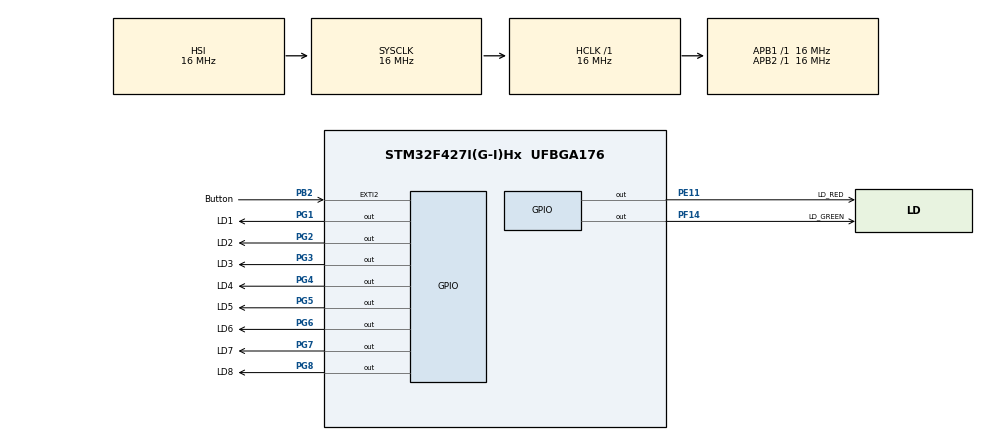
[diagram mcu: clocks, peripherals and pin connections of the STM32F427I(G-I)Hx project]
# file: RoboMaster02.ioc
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Mcu.Family=STM32F4
Mcu.Name=STM32F427I(G-I)Hx
Mcu.Package=UFBGA176
NVIC.EXTI2_IRQn=true\:1\:0\:true\:false\:true\:true\:true
NVIC.PriorityGroup=NVIC_PRIORITYGROUP_4
PB2/BOOT1.GPIO_Label=Button
PB2/BOOT1.Signal=GPXTI2
PE11.GPIO_Label=LD_RED
PE11.Signal=GPIO_Output
PF14.GPIO_Label=LD_GREEN
PF14.Signal=GPIO_Output
PG1.GPIO_Label=LD1
PG1.Signal=GPIO_Output
PG2.GPIO_Label=LD2
PG2.Signal=GPIO_Output
PG3.GPIO_Label=LD3
PG3.Signal=GPIO_Output
PG4.GPIO_Label=LD4
PG4.Signal=GPIO_Output
PG5.GPIO_Label=LD5
PG5.Signal=GPIO_Output
PG6.GPIO_Label=LD6
PG6.Signal=GPIO_Output
PG7.GPIO_Label=LD7
PG7.Signal=GPIO_Output
PG8.GPIO_Label=LD8
PG8.Signal=GPIO_Output
ProjectManager.HeapSize=0x200
ProjectManager.StackSize=0x400
ProjectManager.TargetToolchain=SW4STM32
RCC.AHBFreq_Value=16000000
RCC.APB1Freq_Value=16000000
RCC.APB2Freq_Value=16000000
RCC.CortexFreq_Value=16000000
RCC.HSE_VALUE=25000000
RCC.HSI_VALUE=16000000
RCC.LSE_VALUE=32768
RCC.SYSCLKFreq_VALUE=16000000
RCC.VCOOutputFreq_Value=192000000
board=custom

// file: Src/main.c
/* USER CODE BEGIN Header */
/**
  ******************************************************************************
  * @file           : main.c
  * @brief          : Main program body
  ******************************************************************************
  * @attention
  *
  * <h2><center>&copy; Copyright (c) 2020 STMicroelectronics.
  * All rights reserved.</center></h2>
  *
  * This software component is licensed by ST under BSD 3-Clause license,
  * the "License"; You may not use this file except in compliance with the
  * License. You may obtain a copy of the License at:
  *                        opensource.org/licenses/BSD-3-Clause
  *
  ******************************************************************************
  */
/* USER CODE END Header */

#include "main.h"

void SystemClock_Config(void);
static void MX_GPIO_Init(void);

int main(void)
{

  /* MCU Configuration--------------------------------------------------------*/

  /* Reset of all peripherals, Initializes the Flash interface and the Systick. */
  HAL_Init();

  /* Configure the system clock */
  SystemClock_Config();

  /* Initialize all configured peripherals */
  MX_GPIO_Init();

  /* Infinite loop */
  while (1)
  {

  }
}

void SystemClock_Config(void)
{
  RCC_OscInitTypeDef RCC_OscInitStruct = {0};
  RCC_ClkInitTypeDef RCC_ClkInitStruct = {0};

  /** Configure the main internal regulator output voltage
  */
  __HAL_RCC_PWR_CLK_ENABLE();
  __HAL_PWR_VOLTAGESCALING_CONFIG(PWR_REGULATOR_VOLTAGE_SCALE3);
  /** Initializes the CPU, AHB and APB busses clocks
  */
  RCC_OscInitStruct.OscillatorType = RCC_OSCILLATORTYPE_HSI;
  RCC_OscInitStruct.HSIState = RCC_HSI_ON;
  RCC_OscInitStruct.HSICalibrationValue = RCC_HSICALIBRATION_DEFAULT;
  RCC_OscInitStruct.PLL.PLLState = RCC_PLL_NONE;
  if (HAL_RCC_OscConfig(&RCC_OscInitStruct) != HAL_OK)
  {
    Error_Handler();
  }
  /** Initializes the CPU, AHB and APB busses clocks
  */
  RCC_ClkInitStruct.ClockType = RCC_CLOCKTYPE_HCLK|RCC_CLOCKTYPE_SYSCLK
                              |RCC_CLOCKTYPE_PCLK1|RCC_CLOCKTYPE_PCLK2;
  RCC_ClkInitStruct.SYSCLKSource = RCC_SYSCLKSOURCE_HSI;
  RCC_ClkInitStruct.AHBCLKDivider = RCC_SYSCLK_DIV1;
  RCC_ClkInitStruct.APB1CLKDivider = RCC_HCLK_DIV1;
  RCC_ClkInitStruct.APB2CLKDivider = RCC_HCLK_DIV1;

  if (HAL_RCC_ClockConfig(&RCC_ClkInitStruct, FLASH_LATENCY_0) != HAL_OK)
  {
    Error_Handler();
  }
}

static void MX_GPIO_Init(void)
{
  GPIO_InitTypeDef GPIO_InitStruct = {0};

  /* GPIO Ports Clock Enable */
  __HAL_RCC_GPIOG_CLK_ENABLE();
  __HAL_RCC_GPIOB_CLK_ENABLE();
  __HAL_RCC_GPIOE_CLK_ENABLE();
  __HAL_RCC_GPIOF_CLK_ENABLE();

  /*Configure GPIO pin Output Level */
  HAL_GPIO_WritePin(GPIOG, LD8_Pin|LD7_Pin|LD6_Pin|LD5_Pin
                          |LD4_Pin|LD3_Pin|LD2_Pin|LD1_Pin, GPIO_PIN_RESET);

  /*Configure GPIO pin Output Level */
  HAL_GPIO_WritePin(LD_RED_GPIO_Port, LD_RED_Pin, GPIO_PIN_RESET);

  /*Configure GPIO pin Output Level */
  HAL_GPIO_WritePin(LD_GREEN_GPIO_Port, LD_GREEN_Pin, GPIO_PIN_RESET);

  /*Configure GPIO pins : LD8_Pin LD7_Pin LD6_Pin LD5_Pin
                           LD4_Pin LD3_Pin LD2_Pin LD1_Pin */
  GPIO_InitStruct.Pin = LD8_Pin|LD7_Pin|LD6_Pin|LD5_Pin
                          |LD4_Pin|LD3_Pin|LD2_Pin|LD1_Pin;
  GPIO_InitStruct.Mode = GPIO_MODE_OUTPUT_PP;
  GPIO_InitStruct.Pull = GPIO_NOPULL;
  GPIO_InitStruct.Speed = GPIO_SPEED_FREQ_LOW;
  HAL_GPIO_Init(GPIOG, &GPIO_InitStruct);

  /*Configure GPIO pin : Button_Pin */
  GPIO_InitStruct.Pin = Button_Pin;
  GPIO_InitStruct.Mode = GPIO_MODE_IT_RISING;
  GPIO_InitStruct.Pull = GPIO_NOPULL;
  HAL_GPIO_Init(Button_GPIO_Port, &GPIO_InitStruct);

  /*Configure GPIO pin : LD_RED_Pin */
  GPIO_InitStruct.Pin = LD_RED_Pin;
  GPIO_InitStruct.Mode = GPIO_MODE_OUTPUT_PP;
  GPIO_InitStruct.Pull = GPIO_NOPULL;
  GPIO_InitStruct.Speed = GPIO_SPEED_FREQ_LOW;
  HAL_GPIO_Init(LD_RED_GPIO_Port, &GPIO_InitStruct);

  /*Configure GPIO pin : LD_GREEN_Pin */
  GPIO_InitStruct.Pin = LD_GREEN_Pin;
  GPIO_InitStruct.Mode = GPIO_MODE_OUTPUT_PP;
  GPIO_InitStruct.Pull = GPIO_NOPULL;
  GPIO_InitStruct.Speed = GPIO_SPEED_FREQ_LOW;
  HAL_GPIO_Init(LD_GREEN_GPIO_Port, &GPIO_InitStruct);

  /* EXTI interrupt init*/
  HAL_NVIC_SetPriority(EXTI2_IRQn, 1, 0);
  HAL_NVIC_EnableIRQ(EXTI2_IRQn);

}

/* USER CODE BEGIN 4 */
void HAL_GPIO_EXTI_Callback(uint16_t GPIO_Pin) {
	if(GPIO_Pin == Button_Pin){
		HAL_Delay(500);
		HAL_GPIO_TogglePin(LD_RED_GPIO_Port,LD_RED_Pin);
		HAL_Delay(100);
		HAL_GPIO_TogglePin(LD_GREEN_GPIO_Port,LD_GREEN_Pin);
		HAL_Delay(100);
		HAL_GPIO_TogglePin(LD1_GPIO_Port,LD1_Pin);
		HAL_Delay(100);
		HAL_GPIO_TogglePin(LD2_GPIO_Port,LD2_Pin);
		HAL_Delay(100);
		HAL_GPIO_TogglePin(LD3_GPIO_Port,LD3_Pin);
		HAL_Delay(100);
		HAL_GPIO_TogglePin(LD4_GPIO_Port,LD4_Pin);
		HAL_Delay(100);
		HAL_GPIO_TogglePin(LD5_GPIO_Port,LD5_Pin);
		HAL_Delay(100);
		HAL_GPIO_TogglePin(LD6_GPIO_Port,LD6_Pin);
		HAL_Delay(100);
		HAL_GPIO_TogglePin(LD7_GPIO_Port,LD7_Pin);
		HAL_Delay(100);
		HAL_GPIO_TogglePin(LD8_GPIO_Port,LD8_Pin);
	}
}
/* USER CODE END 4 */

void Error_Handler(void)
{
}

/************************ (C) COPYRIGHT STMicroelectronics *****END OF FILE****/
